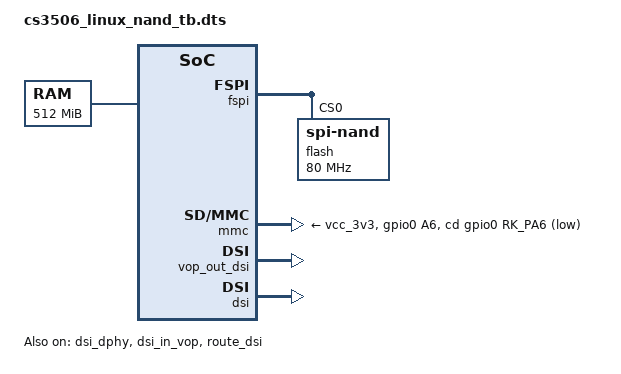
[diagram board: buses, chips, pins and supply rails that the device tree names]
// SPDX-License-Identifier: (GPL-2.0+ OR MIT)
/*
 * Copyright (c) 2024 Rockchip Electronics Co., Ltd.
 */

/dts-v1/;

#include "cs3506-common.dtsi"

/ {
	chosen {
		bootargs = "earlycon=uart8250,mmio32,0xff0a0000 console=ttyFIQ0 ubi.mtd=4 root=ubi0:rootfs rw rootfstype=ubifs rootwait snd_aloop.index=7 snd_aloop.use_raw_jiffies=1 quiet";
	};

	memory: memory {
		device_type = "memory";
		reg = <0x00000000 0x20000000>;
	};
};

&drm_logo {
	reg = <0x1de00000 0x15a000>;
};

&fspi {
	status = "okay";

	flash@0 {
		compatible = "spi-nand";
		reg = <0>;
		spi-max-frequency = <80000000>;
		spi-rx-bus-width = <4>;
		spi-tx-bus-width = <1>;
	};
};

&mmc {
	no-sdio;
	no-mmc;
	cap-sd-highspeed;
	cd-gpios = <&gpio0 RK_PA6 GPIO_ACTIVE_LOW>;
	disable-wp;
	pinctrl-names = "default";
	pinctrl-0 = <&sdmmc_clk_pins &sdmmc_cmd_pins &sdmmc_bus4_pins &sdmmc_det>;
	vqmmc-supply = <&vcc_3v3>;
	vmmc-supply = <&vcc_3v3>;
	status = "okay";
};

/* mipi display */
&dsi_dphy {
	status = "okay";
};

&vop_out_dsi {
	status = "okay";
};

&dsi_in_vop {
	status = "okay";
};

&route_dsi {
	status = "okay";
};

&dsi {
	status = "okay";
};

&pinctrl {
	sdmmc {
		sdmmc_det: sdmmc-det {
			rockchip,pins = <0 RK_PA6 RK_FUNC_GPIO &pcfg_pull_up>;
		};
	};
};
